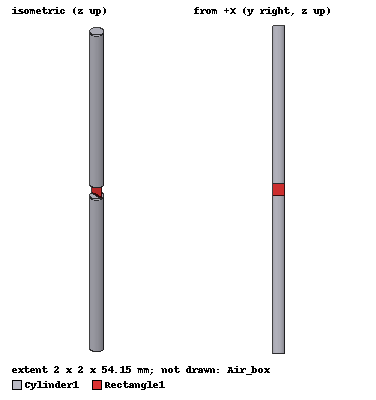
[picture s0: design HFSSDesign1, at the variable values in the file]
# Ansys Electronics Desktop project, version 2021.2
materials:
  vacuum: permittivity=1
  pec: conductivity=1e+30

design HFSSDesign1 (HFSS, DrivenModal, model units mm)
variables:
  dipole_l = 54.15mm  # optimise 30.61mm..91.83mm
  air_t = 2*dipole_l
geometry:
  Cylinder1 [pec] = cylinder(axis=Z, base_centre=(0mm, 0mm, -dipole_l/2), radius=1mm, height=dipole_l)
  Cylinder2 = cylinder(axis=Z, base_centre=(0mm, 0mm, -1mm), radius=1mm, height=2mm)
  Cylinder1.subtract(Cylinder2)
  Rectangle1 = rectangle(corner=(0mm, -1mm, -1mm), y_size=2mm, z_size=2mm)
  Air_box [vacuum] = box(corner=(-air_t, -air_t, -dipole_l/2-air_t), size=(2*air_t, 2*air_t, dipole_l+2*air_t))
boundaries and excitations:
  Rad1: Radiation Objects=Air_box
  1: Lumped Port Faces=Rectangle1.face Modes{Mode1{IntLine{middle of Rectangle1.edge(z opposite corner) -> middle of Rectangle1.edge(z at corner)} CharImp=Zpi RenormImp=50ohm}} Impedance=50ohm
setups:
  Setup1: HfssDriven Frequency=2.45GHz MaxDeltaS=0.02 MaximumPasses=6 MinimumPasses=1 MinimumConvergedPasses=1 PercentRefinement=30 BasisOrder=1 PortAccuracy=2
    sweep Sweep: 2GHz to 3GHz, 51 points; Type=Interpolating InterpTolerance=0.5 InterpMaxSolns=250 InterpUsePortImped=false PassivityErrorTolerance=0.0001
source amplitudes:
  1:1: 1W 0deg
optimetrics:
  OptimizationSetup1: Optimization Optimizer="kDX ASO" AnalysisStopOptions{StopForNumIteration MaxNumIteration=20 MinNumIteration=10} CostFuncNormType=L2 Acceptable_Cost=0 Noise=0.0001 UpdateDesignWhenDone
    goal dB(S(1,1)) Minimize -20 weight 1 on Setup1 : Sweep at Freq 2.44GHz
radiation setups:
  Infinite Sphere1: Infinite Sphere Theta=0deg..180deg step 2deg Phi=-180deg..180deg step 2deg
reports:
  S Parameter Plot 1: dB(S(1,1)) vs Freq on Setup1 : Sweep; markers MX1 at x=2.4620391e+09
  Gain Plot 1: dB(GainTotal) vs Phi, Theta on Setup1 : LastAdaptive, Infinite Sphere1 [Freq=2.45GHz]
